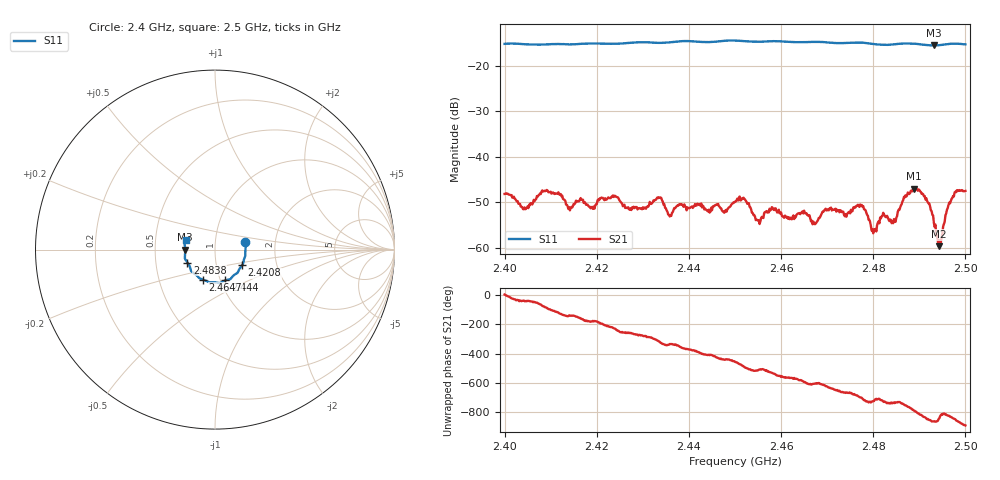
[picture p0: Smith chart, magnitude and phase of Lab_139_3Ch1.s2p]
# Hz S RI R 50
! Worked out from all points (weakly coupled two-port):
!   601 points, 2.4 GHz to 2.5 GHz, reference 50 ohm
!   highest |S21| = -46.99 dB at 2.4888 GHz (marker M1); lowest = -59.6 dB at 2.4942 GHz (marker M2)
!   lowest |S11| = -15.6 dB at 2.4932 GHz (marker M3), VSWR 1.40, Z = 35.8 - j0.0768 ohm
!   |S11| at or under -10 dB: start of sweep to end of sweep
!   S12 and S22 are empty: the file has one direction only
!   S11 on the Smith chart (normalised r, x): 2.4 GHz: 1.40, +0.12; 2.4208 GHz: 1.33, -0.24; 2.444 GHz: 1.06, -0.37; 2.4647 GHz: 0.83, -0.29; 2.4838 GHz: 0.73, -0.11; 2.5 GHz: 0.72, +0.08
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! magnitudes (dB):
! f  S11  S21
! 2.4 GHz  -15.3  -48.1
! 2.4043 GHz  -15.3  -51.1
! 2.4087 GHz  -15.4  -47.4
! 2.4142 GHz  -15.4  -51.7
! 2.4167 GHz  -15.2  -49.4
! 2.4208 GHz  -15.2  -49.1
! 2.4333 GHz  -15.0  -49.1
! 2.4358 GHz  -14.9  -53.1
! 2.444 GHz  -14.9  -51.9
! 2.45 GHz  -14.5  -49.8
! 2.455 GHz  -14.8  -54.0
! 2.4647 GHz  -14.9  -52.0
! 2.4667 GHz  -14.8  -54.0
! 2.477 GHz  -15.0  -51.0
! 2.4802 GHz  -15.3  -55.9
! 2.4833 GHz  -15.5  -53.8
! 2.4838 GHz  -15.4  -53.8
! 2.4888 GHz  -15.2  -47.0
! 2.4932 GHz  -15.6  -54.5
! 2.4942 GHz  -15.6  -59.6
! 2.4973 GHz  -15.2  -48.6
! 2.5 GHz  -15.4  -47.5
